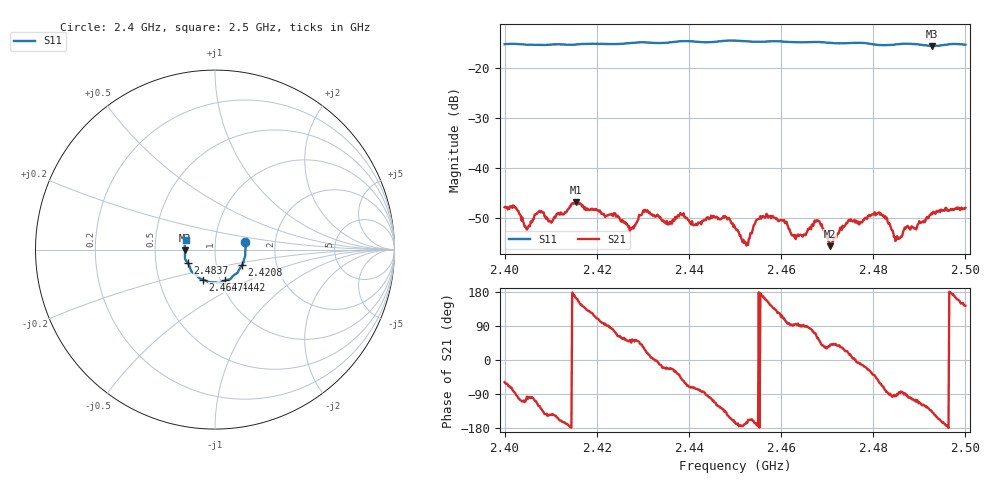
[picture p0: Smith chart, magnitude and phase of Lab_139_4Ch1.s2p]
# Hz S RI R 50
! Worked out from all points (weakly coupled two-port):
!   601 points, 2.4 GHz to 2.5 GHz, reference 50 ohm
!   highest |S21| = -46.94 dB at 2.4155 GHz (marker M1); lowest = -55.7 dB at 2.4707 GHz (marker M2)
!   lowest |S11| = -15.6 dB at 2.4928 GHz (marker M3), VSWR 1.40, Z = 35.8 - j0.35 ohm
!   |S11| at or under -10 dB: start of sweep to end of sweep
!   S12 and S22 are empty: the file has one direction only
!   S11 on the Smith chart (normalised r, x): 2.4 GHz: 1.40, +0.12; 2.4208 GHz: 1.33, -0.24; 2.4442 GHz: 1.05, -0.37; 2.4647 GHz: 0.83, -0.29; 2.4837 GHz: 0.73, -0.11; 2.5 GHz: 0.72, +0.08
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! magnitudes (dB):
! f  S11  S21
! 2.4 GHz  -15.3  -47.9
! 2.405 GHz  -15.4  -52.1
! 2.4155 GHz  -15.3  -46.9
! 2.4167 GHz  -15.2  -47.3
! 2.4208 GHz  -15.2  -48.8
! 2.4275 GHz  -15.0  -52.3
! 2.4305 GHz  -14.9  -48.4
! 2.4333 GHz  -15.0  -49.5
! 2.4442 GHz  -14.9  -49.9
! 2.45 GHz  -14.5  -52.0
! 2.4525 GHz  -14.7  -55.6
! 2.4572 GHz  -14.7  -50.0
! 2.4647 GHz  -14.9  -53.8
! 2.4667 GHz  -14.8  -51.4
! 2.4683 GHz  -14.8  -50.7
! 2.4707 GHz  -15.0  -55.7
! 2.475 GHz  -15.0  -50.6
! 2.4833 GHz  -15.5  -51.2
! 2.4837 GHz  -15.4  -51.5
! 2.4853 GHz  -15.3  -54.3
! 2.4928 GHz  -15.6  -49.3
! 2.5 GHz  -15.4  -48.0
